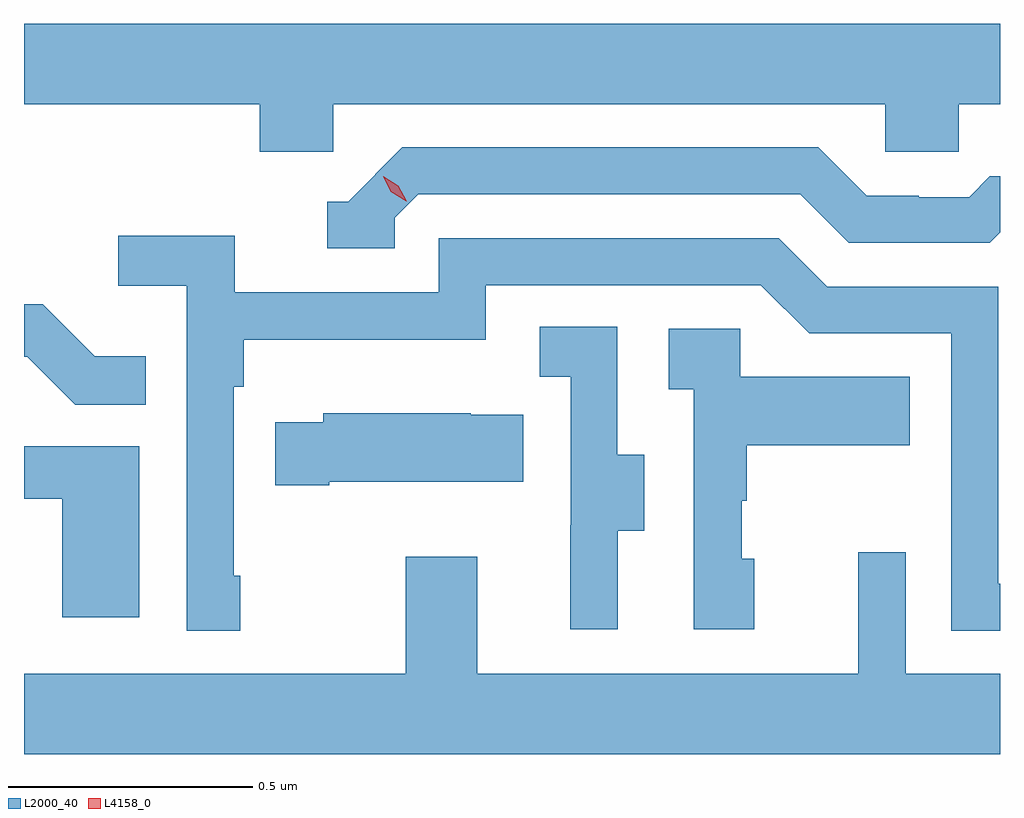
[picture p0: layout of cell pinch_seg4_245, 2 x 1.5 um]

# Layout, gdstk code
import gdstk
lib = gdstk.Library(unit=1e-6, precision=1e-09)
def P(c, l, *ps):  # polygons
    for p in ps: c.add(gdstk.Polygon(p, *l))
L2000_40 = (2000, 40)
L4158_0 = (4158, 0)

pinch_seg4_245 = lib.new_cell('pinch_seg4_245')
P(pinch_seg4_245, L2000_40, [(901.83,826.124),(902.961,826.124),(902.961,826.026),(903.111,826.026),(903.111,826.124),(903.196,826.124),(903.196,826.288),(901.196,826.288),(901.196,826.124),(901.679,826.124),(901.679,826.026),(901.83,826.026)],
  [(901.956,825.891),(902.004,825.939),(902.787,825.939),(902.886,825.84),(903.175,825.84),(903.196,825.861),(903.196,825.976),(903.175,825.976),(903.133,825.933),(903.03,825.933),(903.03,825.936),(902.923,825.936),(902.824,826.035),(901.971,826.035),(901.86,825.924),(901.817,825.924),(901.817,825.828),(901.956,825.828)],
  [(901.639,825.157),(901.626,825.157),(901.626,825.545),(901.646,825.545),(901.646,825.641),(902.142,825.641),(902.142,825.753),(902.706,825.753),(902.805,825.654),(903.096,825.654),(903.096,825.045),(903.196,825.045),(903.196,825.141),(903.192,825.141),(903.192,825.75),(902.842,825.75),(902.743,825.849),(902.046,825.849),(902.046,825.738),(901.628,825.738),(901.628,825.854),(901.389,825.854),(901.389,825.752),(901.53,825.752),(901.53,825.045),(901.639,825.045)],
  [(901.445,825.607),(901.341,825.607),(901.234,825.714),(901.196,825.714),(901.196,825.606),(901.203,825.606),(901.301,825.508),(901.445,825.508)],
  [(902.413,825.25),(902.467,825.25),(902.467,825.405),(902.412,825.405),(902.412,825.668),(902.253,825.668),(902.253,825.565),(902.316,825.565),(902.316,825.261),(902.315,825.261),(902.315,825.048),(902.413,825.048)],
  [(902.692,825.192),(902.667,825.192),(902.667,825.311),(902.677,825.311),(902.677,825.425),(903.011,825.425),(903.011,825.565),(902.664,825.565),(902.664,825.663),(902.517,825.663),(902.517,825.539),(902.568,825.539),(902.568,825.048),(902.692,825.048)],
  [(901.822,825.35),(902.219,825.35),(902.219,825.487),(902.111,825.487),(902.111,825.49),(901.809,825.49),(901.809,825.472),(901.711,825.472),(901.711,825.343),(901.822,825.343)],
  [(901.432,825.423),(901.196,825.423),(901.196,825.315),(901.274,825.315),(901.274,825.072),(901.432,825.072)],
  [(903.196,824.956),(903.003,824.956),(903.003,825.205),(902.906,825.205),(902.906,824.956),(902.125,824.956),(902.125,825.196),(901.978,825.196),(901.978,824.956),(901.196,824.956),(901.196,824.792),(903.196,824.792)])
P(pinch_seg4_245, L4158_0, [(901.979,825.925),(901.948,825.944),(901.932,825.976),(901.932,825.976),(901.932,825.976),(901.963,825.957),(901.98,825.925),(901.98,825.925)])

lib.write_gds('pinch_seg4_245.gds')
